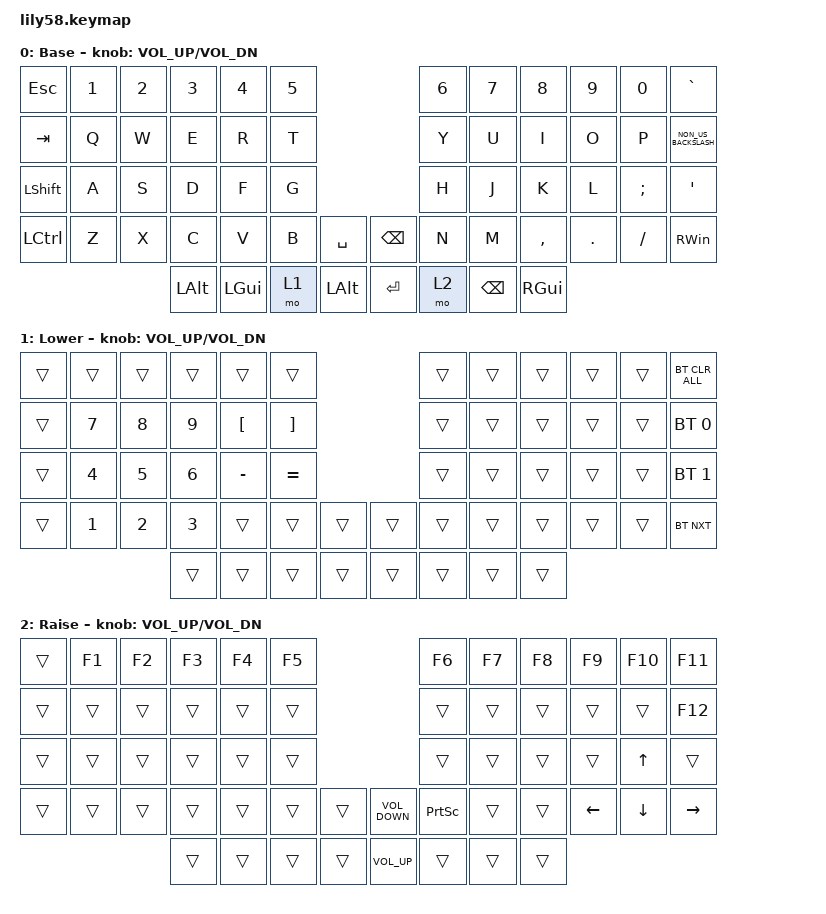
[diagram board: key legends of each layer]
/*
 * Copyright (c) 2020 The ZMK Contributors
 *
 * SPDX-License-Identifier: MIT
 */

#include <behaviors.dtsi>
#include <dt-bindings/zmk/bt.h>
#include <dt-bindings/zmk/keys.h>

/ {
    keymap {
        compatible = "zmk,keymap";

        default_layer {
            // ------------------------------------------------------------------------------------------------------------
            // |  ESC  |  1  |  2  |  3   |  4   |  5   |                   |  6   |  7    |  8    |  9   |   0   |   `   |
            // |  TAB  |  Q  |  W  |  E   |  R   |  T   |                   |  Y   |  U    |  I    |  O   |   P   |   -   |
            // |  CTRL |  A  |  S  |  D   |  F   |  G   |                   |  H   |  J    |  K    |  L   |   ;   |   '   |
            // | SHIFT |  Z  |  X  |  C   |  V   |  B   |   "["  |  |  "]"  |  N   |  M    |  ,    |  .   |   /   | SHIFT |
            //                     | ALT  | GUI  | LOWER|  SPACE |  | ENTER | RAISE| BSPC  | GUI   |

            display-name = "Base";
            bindings = <
&kp ESC         &kp N1  &kp N2  &kp N3    &kp N4    &kp N5                                 &kp N6  &kp N7    &kp N8     &kp N9   &kp N0    &kp GRAVE
&kp TAB         &kp Q   &kp W   &kp E     &kp R     &kp T                                  &kp Y   &kp U     &kp I      &kp O    &kp P     &kp NON_US_BACKSLASH
&kp LEFT_SHIFT  &kp A   &kp S   &kp D     &kp F     &kp G                                  &kp H   &kp J     &kp K      &kp L    &kp SEMI  &kp SQT
&kp LCTRL       &kp Z   &kp X   &kp C     &kp V     &kp B   &kp SPACE       &kp BACKSPACE  &kp N   &kp M     &kp COMMA  &kp DOT  &kp FSLH  &kp RIGHT_WIN
                                &kp LALT  &kp LGUI  &mo 1   &kp LEFT_ALT    &kp RET        &mo 2   &kp BSPC  &kp RGUI
            >;

            sensor-bindings = <&inc_dec_kp C_VOL_UP C_VOL_DN>;
        };

        lower_layer {
            // ------------------------------------------------------------------------------------------------------------
            // | BTCLR | BT1 | BT2 |  BT3 |  BT4 |  BT5 |                   |      |       |       |      |       |       |
            // |  F1   |  F2 |  F3 |  F4  |  F5  |  F6  |                   |  F7  |  F8   |  F9   |  F10 |  F11  |  F12  |
            // |   `   |  !  |  @  |  #   |  $   |  %   |                   |  ^   |  &    |  *    |  (   |   )   |   ~   |
            // |       |     |     |      |      |      |        |  |       |      |  _    |  +    |  {   |   }   |  "|"  |
            //                     |      |      |      |        |  |       |      |       |       |

            display-name = "Lower";
            bindings = <
&trans  &trans        &trans        &trans        &trans            &trans                               &trans  &trans  &trans  &trans  &trans  &bt BT_CLR_ALL
&trans  &kp N7        &kp N8        &kp N9        &kp LEFT_BRACKET  &kp RIGHT_BRACKET                    &trans  &trans  &trans  &trans  &trans  &bt BT_SEL 0
&trans  &kp NUMBER_4  &kp N5        &kp NUMBER_6  &kp MINUS         &kp EQUAL                            &trans  &trans  &trans  &trans  &trans  &bt BT_SEL 1
&trans  &kp NUMBER_1  &kp NUMBER_2  &kp NUMBER_3  &trans            &trans             &trans    &trans  &trans  &trans  &trans  &trans  &trans  &bt BT_NXT
                                    &trans        &trans            &trans             &trans    &trans  &trans  &trans  &trans
            >;

            sensor-bindings = <&inc_dec_kp C_VOL_UP C_VOL_DN>;
        };

        raise_layer {
            // ------------------------------------------------------------------------------------------------------------
            // |       |     |     |      |      |      |                   |      |       |       |      |       |       |
            // |   `   |  1  |  2  |  3   |  4   |  5   |                   |  6   |   7   |   8   |  9   |   0   |       |
            // |   F1  |  F2 |  F3 |  F4  |  F5  |  F6  |                   |      |   <-  |   v   |  ^   |  ->   |       |
            // |   F7  |  F8 |  F9 |  F10 |  F11 |  F12 |        |  |       |  +   |   -   |   =   |  [   |   ]   |   \   |
            //                     |      |      |      |        |  |       |      |       |       |

            display-name = "Raise";
            bindings = <
&trans  &kp F1  &kp F2  &kp F3  &kp F4  &kp F5                               &kp F6           &kp F7  &kp F8  &kp F9          &kp F10         &kp F11
&trans  &trans  &trans  &trans  &trans  &trans                               &trans           &trans  &trans  &trans          &trans          &kp F12
&trans  &trans  &trans  &trans  &trans  &trans                               &trans           &trans  &trans  &trans          &kp UP_ARROW    &trans
&trans  &trans  &trans  &trans  &trans  &trans  &trans    &kp C_VOLUME_DOWN  &kp PRINTSCREEN  &trans  &trans  &kp LEFT_ARROW  &kp DOWN_ARROW  &kp RIGHT_ARROW
                        &trans  &trans  &trans  &trans    &kp C_VOLUME_UP    &trans           &trans  &trans
            >;

            sensor-bindings = <&inc_dec_kp C_VOL_UP C_VOL_DN>;
        };

        extra_1 { status = "reserved"; };

        extra_2 { status = "reserved"; };

        extra_3 { status = "reserved"; };
    };
};
